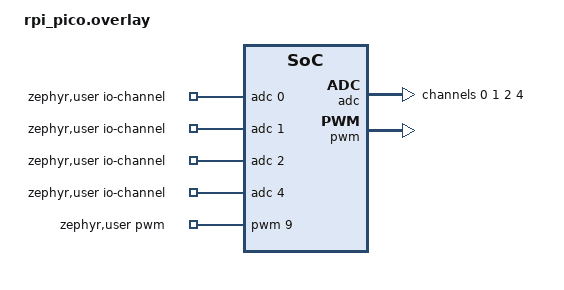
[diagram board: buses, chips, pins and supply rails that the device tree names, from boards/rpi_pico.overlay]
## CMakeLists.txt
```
# west build -b nrf52840dk/nrf52840 ports/zephyr/example -- -DZEPHYR_EXTRA_MODULES=$PWD
#   USB console instead of the UART: add -DEXTRA_CONF_FILE=overlay-usb.conf -DEXTRA_DTC_OVERLAY_FILE=usb.overlay
#   (boards/<board>.overlay is picked up automatically for ADC / PWM / I2S / CAN wiring)
# Options: Kconfig (prj.conf), and MCS_* options in a mcs_user_config.h next to this file or in
#   src/ (template: MicroCS/config/mcs_user_config.h), used automatically.
cmake_minimum_required(VERSION 3.20.0)
find_package(Zephyr REQUIRED HINTS $ENV{ZEPHYR_BASE})
project(microcs_zephyr)
target_sources(app PRIVATE src/main.c)
```

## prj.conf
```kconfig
CONFIG_MICROCS=y
# peripherals C# can use (drivers a board does not have are skipped)
CONFIG_GPIO=y
CONFIG_SERIAL=y
CONFIG_UART_INTERRUPT_DRIVEN=y
CONFIG_I2C=y
CONFIG_SPI=y
CONFIG_ADC=y
CONFIG_PWM=y
CONFIG_WATCHDOG=y
CONFIG_HWINFO=y
CONFIG_REBOOT=y
# files: LittleFS on the board's storage_partition, mounted at /lfs
CONFIG_FLASH=y
CONFIG_FLASH_MAP=y
CONFIG_FILE_SYSTEM=y
CONFIG_FILE_SYSTEM_LITTLEFS=y
# MicroCS owns the console UART
CONFIG_CONSOLE=y
CONFIG_UART_CONSOLE=n
CONFIG_PRINTK=n
CONFIG_LOG=n
CONFIG_MAIN_STACK_SIZE=12288
CONFIG_HEAP_MEM_POOL_SIZE=4096
```

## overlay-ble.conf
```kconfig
# Bluetooth LE for C# (Ble, BleService, BleConnection, BleUart; docs/BLE.md):
#   west build -b nrf52840dk/nrf52840 ports/zephyr/example -- -DEXTRA_CONF_FILE=overlay-ble.conf
# Not part of the release firmware.
CONFIG_BT=y
CONFIG_MICROCS_BLE=y
CONFIG_BT_PERIPHERAL=y
CONFIG_BT_CENTRAL=y
CONFIG_BT_GATT_CLIENT=y
CONFIG_BT_GATT_DYNAMIC_DB=y
CONFIG_BT_SMP=y
CONFIG_BT_FIXED_PASSKEY=y
CONFIG_BT_USER_PHY_UPDATE=y
CONFIG_BT_DEVICE_NAME="MicroCS"
CONFIG_BT_DEVICE_NAME_DYNAMIC=y
CONFIG_BT_DEVICE_APPEARANCE_DYNAMIC=y
CONFIG_BT_MAX_CONN=4
CONFIG_BT_MAX_PAIRED=4
# 247-byte ATT MTU, long reads / writes
CONFIG_BT_L2CAP_TX_MTU=247
CONFIG_BT_BUF_ACL_TX_SIZE=251
CONFIG_BT_BUF_ACL_RX_SIZE=251
CONFIG_BT_CTLR_DATA_LENGTH_MAX=251
CONFIG_BT_ATT_PREPARE_COUNT=4
# the GATT callbacks copy values on the Bluetooth threads
CONFIG_BT_RX_STACK_SIZE=4096
CONFIG_SYSTEM_WORKQUEUE_STACK_SIZE=2048
# bonds across resets: CONFIG_BT_SETTINGS=y + CONFIG_SETTINGS=y + a settings backend
# (CONFIG_NVS / CONFIG_ZMS on its own partition)
```

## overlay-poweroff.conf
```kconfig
# Compile the optional Power.Shutdown adapter (wake/reset remains board-specific).
# west build -b nrf52840dk/nrf52840 ports/zephyr/example -- -DEXTRA_CONF_FILE=overlay-poweroff.conf
CONFIG_POWEROFF=y
```

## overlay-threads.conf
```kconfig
# Real C# threads on Zephyr threads (docs/THREADS.md):
#   west build -b <board> ports/zephyr/example -- -DEXTRA_CONF_FILE=overlay-threads.conf
CONFIG_MICROCS_THREADS=y
# thread stacks (MCS_THREAD_STACK, 8 KB each) and channel buffers come from the system heap
CONFIG_HEAP_MEM_POOL_SIZE=40960
# thread VM heaps (MCS_THREAD_HEAP, 32 KB; 64 KB on native_sim/native/64) come from the C# heap
CONFIG_MICROCS_HEAP_SIZE=131072
```

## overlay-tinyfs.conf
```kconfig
# TinyFS (built in, MIT) on storage_partition instead of Zephyr's LittleFS:
#   west build -b <board> ports/zephyr/example -- -DEXTRA_CONF_FILE=overlay-tinyfs.conf
CONFIG_MICROCS_TINYFS=y
```

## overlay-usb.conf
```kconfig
# Console on USB CDC ACM (use with usb.overlay)
CONFIG_USB_DEVICE_STACK=y
CONFIG_USB_DEVICE_PRODUCT="MicroCS"
CONFIG_USB_DEVICE_PID=0x0004
CONFIG_USB_DEVICE_INITIALIZE_AT_BOOT=y
CONFIG_UART_LINE_CTRL=y
```

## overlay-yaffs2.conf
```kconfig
# YAFFS2 on storage_partition instead of Zephyr's LittleFS:
#   west build -b <board> ports/zephyr/example -- -DEXTRA_CONF_FILE=overlay-yaffs2.conf
# (yaffs2 is downloaded at build time; GPLv2 or commercial licence)
CONFIG_MICROCS_YAFFS2=y
CONFIG_FILE_SYSTEM=n
CONFIG_FILE_SYSTEM_LITTLEFS=n
CONFIG_FLASH=y
CONFIG_FLASH_MAP=y
CONFIG_FLASH_PAGE_LAYOUT=y
```

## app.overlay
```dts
/* Optional: tell MicroCS which ADC channels and PWM outputs C# may use.
 * ADC.Read(0) = first io-channels entry, PWM.Set(0, ...) = first pwms entry.
 * (Adapt the phandles to your board; this matches the nRF52840 DK.) */
/ {
	zephyr,user {
		io-channels = <&adc 0>;
		pwms = <&pwm0 0 PWM_MSEC(20) PWM_POLARITY_NORMAL>;
	};
};
```

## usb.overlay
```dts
/* MicroCS console on native USB (CDC ACM) instead of a UART: boards with a USB
 * device controller (nRF52840 dongle / Feather, RP2040, STM32F4/L4 ...).
 *   west build -b <board> ports/zephyr/example -- -DZEPHYR_EXTRA_MODULES=$PWD \
 *       -DEXTRA_CONF_FILE=overlay-usb.conf -DEXTRA_DTC_OVERLAY_FILE=usb.overlay */
/ {
	chosen {
		zephyr,console = &cdc_acm_uart0;
	};
};

&zephyr_udc0 {
	cdc_acm_uart0: cdc_acm_uart0 {
		compatible = "zephyr,cdc-acm-uart";
	};
};
```

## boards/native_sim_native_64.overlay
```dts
/* native_sim: a loopback CAN controller so CAN.Send / CAN.OnReceive can be tried without hardware */
/ {
	chosen {
		zephyr,canbus = &can_loopback0;
	};

	can_loopback0: can_loopback0 {
		status = "okay";
		compatible = "zephyr,can-loopback";
	};
};
```

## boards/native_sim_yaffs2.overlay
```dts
/* native_sim with overlay-yaffs2.conf: YAFFS2 needs more than the board's 16 KB
 * storage_partition (at least 6 erase blocks), so the unused MCUboot scratch
 * area is folded into a 136 KB storage partition.
 *   -DEXTRA_CONF_FILE=overlay-yaffs2.conf -DEXTRA_DTC_OVERLAY_FILE=boards/native_sim_yaffs2.overlay */
/delete-node/ &scratch_partition;
/delete-node/ &storage_partition;

&flash0 {
	partitions {
		storage_partition: partition@de000 {
			label = "storage";
			reg = <0xde000 0x22000>;
		};
	};
};
```

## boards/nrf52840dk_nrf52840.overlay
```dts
/* MicroCS on the nRF52840 DK: what C# ADC / PWM / I2S / RTC use.
 *   ADC.Read(0) = AIN1 (P0.03), ADC.Read(1) = VDD
 *   PWM.Set(0, ...) = LED1 (P0.13)
 *   I2S.Open(0) = SCK P1.15, LRCK P1.12, SDOUT P1.13, SDIN P1.14
 * Copy this file to boards/<your board>.overlay and adapt the phandles. */
#include <zephyr/dt-bindings/pwm/pwm.h>
#include <zephyr/dt-bindings/adc/adc.h>
#include <zephyr/dt-bindings/adc/nrf-saadc.h>

/ {
	zephyr,user {
		io-channels = <&adc 0>, <&adc 1>;
		pwms = <&pwm0 0 PWM_MSEC(20) PWM_POLARITY_NORMAL>;
	};
	aliases {
		mcs-i2s0 = &i2s0;
	};
};

&adc {
	#address-cells = <1>;
	#size-cells = <0>;
	status = "okay";

	channel@0 {
		reg = <0>;
		zephyr,gain = "ADC_GAIN_1_6";
		zephyr,reference = "ADC_REF_INTERNAL";
		zephyr,acquisition-time = <ADC_ACQ_TIME_DEFAULT>;
		zephyr,input-positive = <NRF_SAADC_AIN1>;
		zephyr,resolution = <12>;
	};

	channel@1 {
		reg = <1>;
		zephyr,gain = "ADC_GAIN_1_6";
		zephyr,reference = "ADC_REF_INTERNAL";
		zephyr,acquisition-time = <ADC_ACQ_TIME_DEFAULT>;
		zephyr,input-positive = <NRF_SAADC_VDD>;
		zephyr,resolution = <12>;
	};
};

&pinctrl {
	i2s0_default_mcs: i2s0_default_mcs {
		group1 {
			psels = <NRF_PSEL(I2S_SCK_M, 1, 15)>,
				<NRF_PSEL(I2S_LRCK_M, 1, 12)>,
				<NRF_PSEL(I2S_SDOUT, 1, 13)>,
				<NRF_PSEL(I2S_SDIN, 1, 14)>;
		};
	};
};

&i2s0 {
	status = "okay";
	pinctrl-0 = <&i2s0_default_mcs>;
	pinctrl-names = "default";
};
```

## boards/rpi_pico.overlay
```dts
/* MicroCS on the Raspberry Pi Pico: 1.5 MB for firmware, 512 KB LittleFS for
 * C# files, ADC.Read(0..3) = GP26, GP27, GP28 and the temperature sensor,
 * PWM.Set(0, ...) = GP25 (LED). */
#include <zephyr/dt-bindings/adc/adc.h>
#include <zephyr/dt-bindings/pwm/pwm.h>

/ {
	zephyr,user {
		io-channels = <&adc 0>, <&adc 1>, <&adc 2>, <&adc 4>;
		pwms = <&pwm 9 PWM_MSEC(20) PWM_POLARITY_NORMAL>;
	};
};

&code_partition {
	reg = <0x100 (DT_SIZE_K(1536) - 0x100)>;
};

&flash0 {
	partitions {
		storage_partition: partition@180000 {
			label = "storage";
			reg = <0x180000 DT_SIZE_K(512)>;
		};
	};
};

&adc {
	#address-cells = <1>;
	#size-cells = <0>;
	status = "okay";

	channel@0 {
		reg = <0>;
		zephyr,gain = "ADC_GAIN_1";
		zephyr,reference = "ADC_REF_INTERNAL";
		zephyr,acquisition-time = <ADC_ACQ_TIME_DEFAULT>;
		zephyr,resolution = <12>;
	};
	channel@1 {
		reg = <1>;
		zephyr,gain = "ADC_GAIN_1";
		zephyr,reference = "ADC_REF_INTERNAL";
		zephyr,acquisition-time = <ADC_ACQ_TIME_DEFAULT>;
		zephyr,resolution = <12>;
	};
	channel@2 {
		reg = <2>;
		zephyr,gain = "ADC_GAIN_1";
		zephyr,reference = "ADC_REF_INTERNAL";
		zephyr,acquisition-time = <ADC_ACQ_TIME_DEFAULT>;
		zephyr,resolution = <12>;
	};
	channel@4 {
		reg = <4>;
		zephyr,gain = "ADC_GAIN_1";
		zephyr,reference = "ADC_REF_INTERNAL";
		zephyr,acquisition-time = <ADC_ACQ_TIME_DEFAULT>;
		zephyr,resolution = <12>;
	};
};

&pwm {
	status = "okay";
};
```

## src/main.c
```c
/* MicroCS on any Zephyr board: a C# REPL on the console (UART or USB), files
 * on LittleFS (boot.cs / jobs.cfg / main.cs run at start-up), every peripheral
 * from the devicetree, and the machine protocol MicroCS Studio and
 * tools/mcs_remote.py use (Ctrl-A on the console). */
#include <zephyr/kernel.h>
#include <zephyr/drivers/uart.h>
#include <string.h>
#include "mcs_runtime.h"
#include "mcs_port_zephyr.h"
#if defined(CONFIG_MICROCS_YAFFS2) || defined(CONFIG_MICROCS_TINYFS)
#include <zephyr/storage/flash_map.h>
#endif

static uint8_t heap[CONFIG_MICROCS_HEAP_SIZE] __aligned(8);
static mcs_runtime_t rt;
static mcs_hal_t hal;
#if defined(CONFIG_MICROCS_YAFFS2) || defined(CONFIG_MICROCS_TINYFS)
static mcs_zephyr_flash_t flash;
static mcs_flashfs_t flashfs;
#elif defined(CONFIG_MICROCS_FS)
static mcs_zephyr_fs_t files;
#endif

static void say(const mcs_transport_t* con, const char* s) { con->write(con->ud, s, strlen(s)); }

int main(void) {
#if DT_HAS_CHOSEN(zephyr_console) && DT_NODE_HAS_COMPAT(DT_CHOSEN(zephyr_console), zephyr_cdc_acm_uart) && defined(CONFIG_UART_LINE_CTRL)
    /* USB console: wait (up to 3 s) for the host to open the port so the banner is not lost */
    const struct device* usb = DEVICE_DT_GET(DT_CHOSEN(zephyr_console));
    for (int i = 0; i < 300; i++) {
        uint32_t dtr = 0;
        if (uart_line_ctrl_get(usb, UART_LINE_CTRL_DTR, &dtr) == 0 && dtr) break;
        k_msleep(10);
    }
#endif
    mcs_zephyr_hal_init(&hal, NULL);
    mcs_runtime_cfg_t cfg = MCS_RUNTIME_DEFAULTS;
    cfg.heap = heap;
    cfg.heap_size = sizeof heap;
    cfg.console = mcs_zephyr_console();
    cfg.ticks = mcs_zephyr_ticks;
    cfg.delay = mcs_zephyr_delay;
    cfg.echo = IS_ENABLED(CONFIG_MICROCS_CONSOLE_ECHO);
    cfg.hal = &hal;
#if defined(CONFIG_MICROCS_YAFFS2) || defined(CONFIG_MICROCS_TINYFS)
#if defined(CONFIG_MICROCS_YAFFS2)
#define MCS_EXAMPLE_FS MCS_FLASHFS_YAFFS2
#else
#define MCS_EXAMPLE_FS MCS_FLASHFS_TINYFS
#endif
#if FIXED_PARTITION_EXISTS(storage_partition)
    if (mcs_zephyr_flash_area_init(&flash, FIXED_PARTITION_ID(storage_partition)) == 0 &&
        mcs_flashfs_mount(&flashfs, &flash.flash, 0, 0, MCS_EXAMPLE_FS, MCS_FLASHFS_FORMAT_IF_NEEDED) == 0) {
        cfg.fs_ops = flashfs.ops;
        cfg.fs_ctx = flashfs.ctx;
    } else {
        say(&cfg.console, "MicroCS: flash filesystem mount failed - using a RAM filesystem\r\n");
        cfg.ramfs_size = CONFIG_MICROCS_RAMFS_SIZE;
    }
#else
    cfg.ramfs_size = CONFIG_MICROCS_RAMFS_SIZE;           /* no storage_partition on this board */
#endif
#elif defined(CONFIG_MICROCS_FS)
    int e = mcs_zephyr_fs_mount(&files);
    if (e == 0) {
        cfg.fs_ops = &mcs_zephyr_fs_ops;
        cfg.fs_ctx = &files;
    } else {
        say(&cfg.console, "MicroCS: no storage partition - using a RAM filesystem\r\n");
        cfg.ramfs_size = CONFIG_MICROCS_RAMFS_SIZE;
    }
#else
    cfg.ramfs_size = CONFIG_MICROCS_RAMFS_SIZE;
#endif
    for (;;) mcs_runtime_run(&rt, &cfg);     /* restarts the VM if the console ever closes */
    return 0;
}
```
